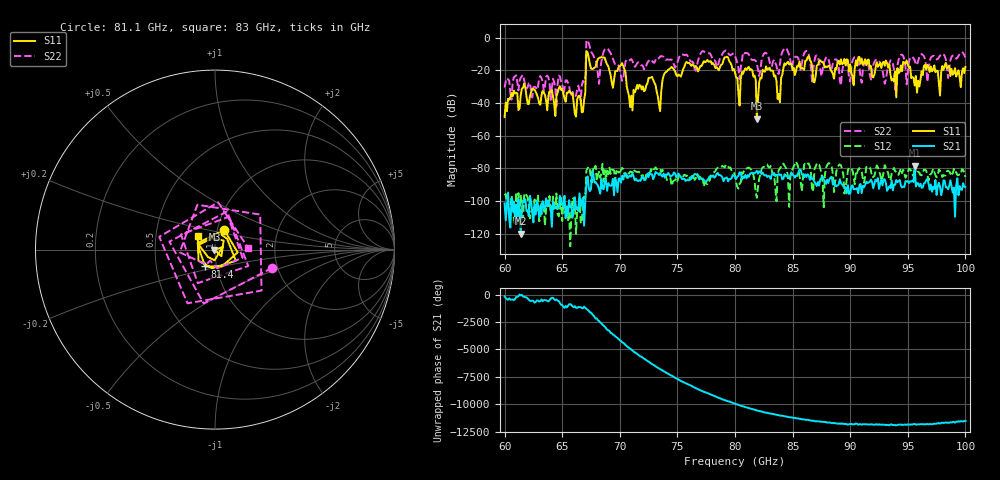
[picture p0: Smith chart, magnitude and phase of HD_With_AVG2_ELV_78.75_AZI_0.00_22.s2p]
! 11/25/2026 10:20:58 AM
! C:\ANRITSUVNA\TEMP\TEMP.S2P
! CHANNEL.1
! TR.MEASUREMENT
! RAW.DATA
# HZ S RI R 50.0
! FREQ.HZ  S11RE  S11IM  S21RE  S21IM  S12RE  S12IM  S22RE  S22IM
!; PortSelection: Port_12
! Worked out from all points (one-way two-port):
!   401 points, 60 GHz to 100 GHz, reference 50 ohm
!   highest |S21| = -78.48 dB at 95.6 GHz (marker M1); lowest = -120.1 dB at 61.4 GHz (marker M2)
!   lowest |S11| = -49.6 dB at 81.9 GHz (marker M3), VSWR 1.01, Z = 49.7 - j0.00418 ohm
!   |S11| at or under -10 dB: start of sweep to 67.09 GHz; 67.24 GHz to end of sweep
!   |S22| runs from -42.8 to -1.7 dB; largest |S21 - S12| = 0.00022
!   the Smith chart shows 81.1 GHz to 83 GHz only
!   S11 on the Smith chart (normalised r, x): 81.1 GHz: 1.08, +0.24; 81.4 GHz: 0.88, -0.17; 83 GHz: 0.82, +0.12
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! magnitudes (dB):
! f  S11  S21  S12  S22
! 60 GHz  -48.7  -101.5  -96.6  -30.5
! 61.4 GHz  -35.4  -120.1  -96.8  -24.5
! 66.7 GHz  -45.7  -100.0  -113.7  -29.5
! 67.3 GHz  -12.1  -91.7  -79.0  -3.1
! 68.4 GHz  -11.8  -86.6  -82.4  -14.7
! 68.9 GHz  -16.4  -93.8  -80.2  -6.5
! 70.3 GHz  -17.5  -86.9  -80.7  -25.5
! 70.9 GHz  -42.6  -84.3  -82.0  -13.5
! 72.7 GHz  -24.4  -83.6  -80.5  -13.3
! 73.4 GHz  -40.9  -84.1  -81.2  -12.6
! 74.4 GHz  -18.6  -85.0  -86.0  -13.4
! 80 GHz  -21.2  -85.2  -84.3  -11.1
! 81.1 GHz  -18.4  -84.2  -79.8  -9.5
! 81.4 GHz  -19.3  -82.8  -80.9  -13.0
! 81.9 GHz  -49.6  -81.5  -98.1  -15.9
! 83 GHz  -18.4  -85.0  -79.7  -14.6
! 83.8 GHz  -34.5  -83.6  -81.1  -22.3
! 84.4 GHz  -16.7  -84.6  -79.6  -6.2
! 86.7 GHz  -17.6  -86.7  -94.2  -28.0
! 93.4 GHz  -16.3  -91.0  -86.9  -15.6
! 95.6 GHz  -29.3  -78.5  -78.6  -13.7
! 100 GHz  -17.9  -91.5  -85.2  -12.1
